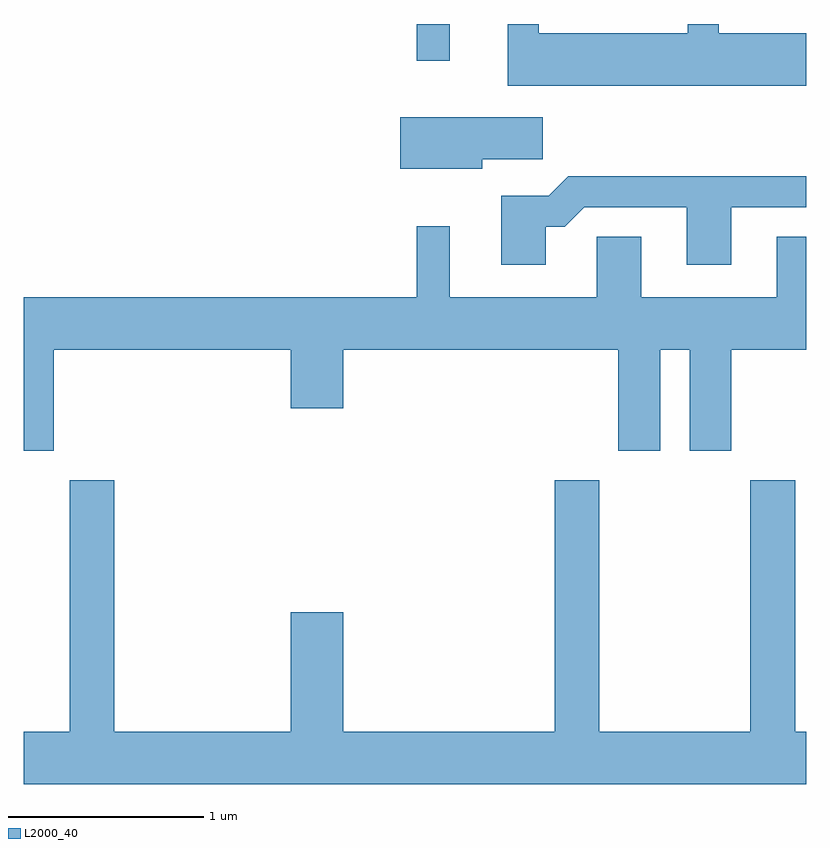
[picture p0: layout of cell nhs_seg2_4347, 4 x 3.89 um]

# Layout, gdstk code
import gdstk
lib = gdstk.Library(unit=1e-6, precision=1e-09)
def R(c, l, rs):  # rectangles x0, y0, x1, y1
    for r in rs: c.add(gdstk.rectangle(r[:2], r[2:], *l))
def P(c, l, *ps):  # polygons
    for p in ps: c.add(gdstk.Polygon(p, *l))
L2000_40 = (2000, 40)

nhs_seg2_4347 = lib.new_cell('nhs_seg2_4347')
R(nhs_seg2_4347, L2000_40, [(315.621,1007.613,315.789,1007.802)])
P(nhs_seg2_4347, L2000_40, [(317.611,1007.754),(317.164,1007.754),(317.164,1007.802),(317.006,1007.802),(317.006,1007.754),(316.244,1007.754),(316.244,1007.802),(316.086,1007.802),(316.086,1007.486),(317.611,1007.486)],
  [(315.954,1007.111),(316.264,1007.111),(316.264,1007.324),(315.536,1007.324),(315.536,1007.061),(315.954,1007.061)],
  [(316.279,1006.766),(316.377,1006.766),(316.477,1006.866),(317.001,1006.866),(317.001,1006.571),(317.229,1006.571),(317.229,1006.866),(317.611,1006.866),(317.611,1007.024),(316.394,1007.024),(316.294,1006.924),(316.051,1006.924),(316.051,1006.571),(316.279,1006.571)],
  [(313.764,1006.136),(314.976,1006.136),(314.976,1005.836),(315.244,1005.836),(315.244,1006.136),(316.651,1006.136),(316.651,1005.621),(316.864,1005.621),(316.864,1006.136),(317.016,1006.136),(317.016,1005.621),(317.229,1005.621),(317.229,1006.136),(317.611,1006.136),(317.611,1006.714),(317.461,1006.714),(317.461,1006.404),(316.769,1006.404),(316.769,1006.714),(316.541,1006.714),(316.541,1006.404),(315.789,1006.404),(315.789,1006.768),(315.621,1006.768),(315.621,1006.404),(313.611,1006.404),(313.611,1005.621),(313.764,1005.621)],
  [(317.611,1004.184),(317.554,1004.184),(317.554,1005.469),(317.326,1005.469),(317.326,1004.184),(316.554,1004.184),(316.554,1005.469),(316.326,1005.469),(316.326,1004.184),(315.244,1004.184),(315.244,1004.794),(314.976,1004.794),(314.976,1004.184),(314.074,1004.184),(314.074,1005.469),(313.846,1005.469),(313.846,1004.184),(313.611,1004.184),(313.611,1003.916),(317.611,1003.916)])

lib.write_gds('nhs_seg2_4347.gds')
